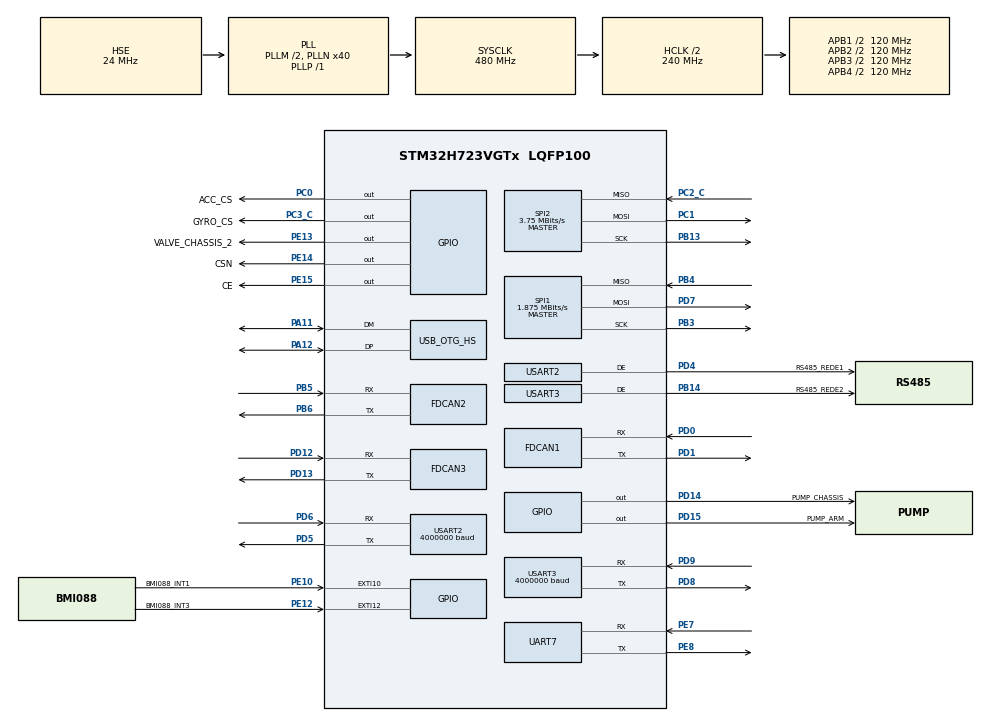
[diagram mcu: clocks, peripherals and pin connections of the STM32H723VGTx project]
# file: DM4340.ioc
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CORTEX_M7.default_mode_Activation=1
Dma.Request0=UART7_TX
Dma.Request1=USART2_TX
Dma.Request2=USART2_RX
Dma.Request3=USART3_RX
Dma.Request4=USART3_TX
Dma.UART7_TX.0.Direction=DMA_MEMORY_TO_PERIPH
Dma.UART7_TX.0.EventEnable=DISABLE
Dma.UART7_TX.0.FIFOMode=DMA_FIFOMODE_DISABLE
Dma.UART7_TX.0.Instance=DMA1_Stream0
Dma.UART7_TX.0.MemDataAlignment=DMA_MDATAALIGN_BYTE
Dma.UART7_TX.0.MemInc=DMA_MINC_ENABLE
Dma.UART7_TX.0.Mode=DMA_NORMAL
Dma.UART7_TX.0.PeriphDataAlignment=DMA_PDATAALIGN_BYTE
Dma.UART7_TX.0.PeriphInc=DMA_PINC_DISABLE
Dma.UART7_TX.0.Polarity=HAL_DMAMUX_REQ_GEN_RISING
Dma.UART7_TX.0.Priority=DMA_PRIORITY_LOW
Dma.UART7_TX.0.RequestNumber=1
Dma.UART7_TX.0.SignalID=NONE
Dma.UART7_TX.0.SyncEnable=DISABLE
Dma.UART7_TX.0.SyncPolarity=HAL_DMAMUX_SYNC_NO_EVENT
Dma.UART7_TX.0.SyncRequestNumber=1
Dma.UART7_TX.0.SyncSignalID=NONE
Dma.USART2_RX.2.Direction=DMA_PERIPH_TO_MEMORY
Dma.USART2_RX.2.EventEnable=DISABLE
Dma.USART2_RX.2.FIFOMode=DMA_FIFOMODE_DISABLE
Dma.USART2_RX.2.Instance=DMA1_Stream2
Dma.USART2_RX.2.MemDataAlignment=DMA_MDATAALIGN_BYTE
Dma.USART2_RX.2.MemInc=DMA_MINC_ENABLE
Dma.USART2_RX.2.Mode=DMA_NORMAL
Dma.USART2_RX.2.PeriphDataAlignment=DMA_PDATAALIGN_BYTE
Dma.USART2_RX.2.PeriphInc=DMA_PINC_DISABLE
Dma.USART2_RX.2.Polarity=HAL_DMAMUX_REQ_GEN_RISING
Dma.USART2_RX.2.Priority=DMA_PRIORITY_MEDIUM
Dma.USART2_RX.2.RequestNumber=1
Dma.USART2_RX.2.SignalID=NONE
Dma.USART2_RX.2.SyncEnable=DISABLE
Dma.USART2_RX.2.SyncPolarity=HAL_DMAMUX_SYNC_NO_EVENT
Dma.USART2_RX.2.SyncRequestNumber=1
Dma.USART2_RX.2.SyncSignalID=NONE
Dma.USART2_TX.1.Direction=DMA_MEMORY_TO_PERIPH
Dma.USART2_TX.1.EventEnable=DISABLE
Dma.USART2_TX.1.FIFOMode=DMA_FIFOMODE_DISABLE
Dma.USART2_TX.1.Instance=DMA1_Stream1
Dma.USART2_TX.1.MemDataAlignment=DMA_MDATAALIGN_BYTE
Dma.USART2_TX.1.MemInc=DMA_MINC_ENABLE
Dma.USART2_TX.1.Mode=DMA_NORMAL
Dma.USART2_TX.1.PeriphDataAlignment=DMA_PDATAALIGN_BYTE
Dma.USART2_TX.1.PeriphInc=DMA_PINC_DISABLE
Dma.USART2_TX.1.Polarity=HAL_DMAMUX_REQ_GEN_RISING
Dma.USART2_TX.1.Priority=DMA_PRIORITY_MEDIUM
Dma.USART2_TX.1.RequestNumber=1
Dma.USART2_TX.1.SignalID=NONE
Dma.USART2_TX.1.SyncEnable=DISABLE
Dma.USART2_TX.1.SyncPolarity=HAL_DMAMUX_SYNC_NO_EVENT
Dma.USART2_TX.1.SyncRequestNumber=1
Dma.USART2_TX.1.SyncSignalID=NONE
Dma.USART3_RX.3.Direction=DMA_PERIPH_TO_MEMORY
Dma.USART3_RX.3.EventEnable=DISABLE
Dma.USART3_RX.3.FIFOMode=DMA_FIFOMODE_DISABLE
Dma.USART3_RX.3.Instance=DMA1_Stream3
Dma.USART3_RX.3.MemDataAlignment=DMA_MDATAALIGN_BYTE
Dma.USART3_RX.3.MemInc=DMA_MINC_ENABLE
Dma.USART3_RX.3.Mode=DMA_NORMAL
Dma.USART3_RX.3.PeriphDataAlignment=DMA_PDATAALIGN_BYTE
Dma.USART3_RX.3.PeriphInc=DMA_PINC_DISABLE
Dma.USART3_RX.3.Polarity=HAL_DMAMUX_REQ_GEN_RISING
Dma.USART3_RX.3.Priority=DMA_PRIORITY_MEDIUM
Dma.USART3_RX.3.RequestNumber=1
Dma.USART3_RX.3.SignalID=NONE
Dma.USART3_RX.3.SyncEnable=DISABLE
Dma.USART3_RX.3.SyncPolarity=HAL_DMAMUX_SYNC_NO_EVENT
Dma.USART3_RX.3.SyncRequestNumber=1
Dma.USART3_RX.3.SyncSignalID=NONE
Dma.USART3_TX.4.Direction=DMA_MEMORY_TO_PERIPH
Dma.USART3_TX.4.EventEnable=DISABLE
Dma.USART3_TX.4.FIFOMode=DMA_FIFOMODE_DISABLE
Dma.USART3_TX.4.Instance=DMA1_Stream4
Dma.USART3_TX.4.MemDataAlignment=DMA_MDATAALIGN_BYTE
Dma.USART3_TX.4.MemInc=DMA_MINC_ENABLE
Dma.USART3_TX.4.Mode=DMA_NORMAL
Dma.USART3_TX.4.PeriphDataAlignment=DMA_PDATAALIGN_BYTE
Dma.USART3_TX.4.PeriphInc=DMA_PINC_DISABLE
Dma.USART3_TX.4.Polarity=HAL_DMAMUX_REQ_GEN_RISING
Dma.USART3_TX.4.Priority=DMA_PRIORITY_MEDIUM
Dma.USART3_TX.4.RequestNumber=1
Dma.USART3_TX.4.SignalID=NONE
Dma.USART3_TX.4.SyncEnable=DISABLE
Dma.USART3_TX.4.SyncPolarity=HAL_DMAMUX_SYNC_NO_EVENT
Dma.USART3_TX.4.SyncRequestNumber=1
Dma.USART3_TX.4.SyncSignalID=NONE
FDCAN1.CalculateBaudRateNominal=1000000
FDCAN1.CalculateTimeBitNominal=1000
FDCAN1.CalculateTimeQuantumNominal=25.0
FDCAN1.DataPrescaler=3
FDCAN1.DataSyncJumpWidth=10
FDCAN1.DataTimeSeg1=29
FDCAN1.DataTimeSeg2=10
FDCAN1.NominalPrescaler=3
FDCAN1.NominalSyncJumpWidth=10
FDCAN1.NominalTimeSeg1=29
FDCAN1.NominalTimeSeg2=10
FDCAN1.ProtocolException=ENABLE
FDCAN1.RxFifo0ElmtsNbr=2
FDCAN1.StdFiltersNbr=1
FDCAN1.TxFifoQueueElmtsNbr=2
FDCAN2.CalculateBaudRateNominal=1000000
FDCAN2.CalculateTimeBitNominal=1000
FDCAN2.CalculateTimeQuantumNominal=25.0
FDCAN2.DataPrescaler=3
FDCAN2.DataSyncJumpWidth=10
FDCAN2.DataTimeSeg1=29
FDCAN2.DataTimeSeg2=10
FDCAN2.MessageRAMOffset=0
FDCAN2.NominalPrescaler=3
FDCAN2.NominalSyncJumpWidth=10
FDCAN2.NominalTimeSeg1=29
FDCAN2.NominalTimeSeg2=10
FDCAN2.ProtocolException=ENABLE
FDCAN2.RxFifo0ElmtsNbr=2
FDCAN2.StdFiltersNbr=1
FDCAN2.TxFifoQueueElmtsNbr=2
FDCAN3.CalculateBaudRateNominal=1000000
FDCAN3.CalculateTimeBitNominal=1000
FDCAN3.CalculateTimeQuantumNominal=25.0
FDCAN3.DataPrescaler=3
FDCAN3.DataSyncJumpWidth=10
FDCAN3.DataTimeSeg1=29
FDCAN3.DataTimeSeg2=10
FDCAN3.MessageRAMOffset=1
FDCAN3.NominalPrescaler=3
FDCAN3.NominalSyncJumpWidth=10
FDCAN3.NominalTimeSeg1=29
FDCAN3.NominalTimeSeg2=10
FDCAN3.ProtocolException=ENABLE
FDCAN3.RxFifo0ElmtsNbr=2
FDCAN3.StdFiltersNbr=0
FDCAN3.TxFifoQueueElmtsNbr=2
Mcu.Family=STM32H7
Mcu.Name=STM32H723VGTx
Mcu.Package=LQFP100
NVIC.DMA1_Stream0_IRQn=true\:0\:0\:false\:false\:true\:false\:true\:true
NVIC.DMA1_Stream1_IRQn=true\:0\:0\:false\:false\:true\:false\:true\:true
NVIC.DMA1_Stream2_IRQn=true\:0\:0\:false\:false\:true\:false\:true\:true
NVIC.DMA1_Stream3_IRQn=true\:0\:0\:false\:false\:true\:false\:true\:true
NVIC.DMA1_Stream4_IRQn=true\:0\:0\:false\:false\:true\:false\:true\:true
NVIC.EXTI15_10_IRQn=true\:0\:0\:false\:false\:true\:true\:true\:true
NVIC.FDCAN1_IT0_IRQn=true\:1\:0\:true\:false\:true\:true\:true\:true
NVIC.FDCAN1_IT1_IRQn=true\:0\:0\:false\:false\:true\:true\:true\:true
NVIC.FDCAN2_IT0_IRQn=true\:1\:0\:true\:false\:true\:true\:true\:true
NVIC.FDCAN2_IT1_IRQn=true\:0\:0\:false\:false\:true\:true\:true\:true
NVIC.FDCAN3_IT0_IRQn=true\:1\:0\:true\:false\:true\:true\:true\:true
NVIC.FDCAN3_IT1_IRQn=true\:1\:0\:true\:false\:true\:true\:true\:true
NVIC.FDCAN_CAL_IRQn=true\:0\:0\:false\:false\:true\:true\:true\:true
NVIC.OTG_HS_IRQn=true\:2\:0\:true\:false\:true\:true\:true\:true
NVIC.PriorityGroup=NVIC_PRIORITYGROUP_4
NVIC.TIM3_IRQn=true\:3\:0\:true\:false\:true\:true\:true\:true
NVIC.TIM4_IRQn=true\:3\:0\:true\:false\:true\:true\:true\:true
NVIC.UART7_IRQn=true\:0\:0\:false\:false\:true\:true\:true\:true
NVIC.USART2_IRQn=true\:3\:0\:true\:false\:true\:true\:true\:true
NVIC.USART3_IRQn=true\:3\:0\:true\:false\:true\:true\:true\:true
PA11.Mode=Device_Only_FS
PA11.Signal=USB_OTG_HS_DM
PA12.Mode=Device_Only_FS
PA12.Signal=USB_OTG_HS_DP
PB13.Mode=Full_Duplex_Master
PB13.Signal=SPI2_SCK
PB14.GPIO_Label=RS485_REDE2
PB14.Mode=Hardware Flow Control (RS485)
PB14.Signal=USART3_DE
PB3(JTDO/TRACESWO).Mode=Full_Duplex_Master
PB3(JTDO/TRACESWO).Signal=SPI1_SCK
PB4(NJTRST).Mode=Full_Duplex_Master
PB4(NJTRST).Signal=SPI1_MISO
PB5.Mode=FDCAN_Activate
PB5.Signal=FDCAN2_RX
PB6.Mode=FDCAN_Activate
PB6.Signal=FDCAN2_TX
PC0.GPIO_Label=ACC_CS
PC0.PinState=GPIO_PIN_SET
PC0.Signal=GPIO_Output
PC1.Mode=Full_Duplex_Master
PC1.Signal=SPI2_MOSI
PC12.GPIO_Speed=GPIO_SPEED_FREQ_MEDIUM
PC12.Signal=SPI3_MOSI
PC2_C.Mode=Full_Duplex_Master
PC2_C.Signal=SPI2_MISO
PC3_C.GPIO_Label=GYRO_CS
PC3_C.PinState=GPIO_PIN_SET
PC3_C.Signal=GPIO_Output
PD0.Mode=FDCAN_Activate
PD0.Signal=FDCAN1_RX
PD1.Mode=FDCAN_Activate
PD1.Signal=FDCAN1_TX
PD12.Mode=FDCAN_Activate
PD12.Signal=FDCAN3_RX
PD13.Mode=FDCAN_Activate
PD13.Signal=FDCAN3_TX
PD14.GPIO_Label=PUMP_CHASSIS
PD14.Signal=GPIO_Output
PD15.GPIO_Label=PUMP_ARM
PD15.Signal=GPIO_Output
PD4.GPIO_Label=RS485_REDE1
PD4.Mode=Hardware Flow Control (RS485)
PD4.Signal=USART2_DE
PD5.Mode=Asynchronous
PD5.Signal=USART2_TX
PD6.Mode=Asynchronous
PD6.Signal=USART2_RX
PD7.Mode=Full_Duplex_Master
PD7.Signal=SPI1_MOSI
PD8.Mode=Asynchronous
PD8.Signal=USART3_TX
PD9.Mode=Asynchronous
PD9.Signal=USART3_RX
PE10.GPIO_Label=BMI088_INT1
PE10.GPIO_PuPd=GPIO_PULLDOWN
PE10.Signal=GPXTI10
PE12.GPIO_Label=BMI088_INT3
PE12.GPIO_PuPd=GPIO_PULLDOWN
PE12.Signal=GPXTI12
PE13.GPIO_Label=VALVE_CHASSIS_2
PE13.Signal=GPIO_Output
PE14.GPIO_Label=CSN
PE14.GPIO_PuPd=GPIO_PULLUP
PE14.GPIO_Speed=GPIO_SPEED_FREQ_HIGH
PE14.PinState=GPIO_PIN_SET
PE14.Signal=GPIO_Output
PE15.GPIO_Label=CE
PE15.GPIO_ModeDefaultOutputPP=GPIO_MODE_OUTPUT_PP
PE15.GPIO_PuPd=GPIO_PULLDOWN
PE15.GPIO_Speed=GPIO_SPEED_FREQ_MEDIUM
PE15.PinState=GPIO_PIN_RESET
PE15.Signal=GPIO_Output
PE7.Mode=Asynchronous
PE7.Signal=UART7_RX
PE8.Mode=Asynchronous
PE8.Signal=UART7_TX
PH0-OSC_IN.Mode=HSE-External-Oscillator
PH0-OSC_IN.Signal=RCC_OSC_IN
PH1-OSC_OUT.Mode=HSE-External-Oscillator
PH1-OSC_OUT.Signal=RCC_OSC_OUT
ProjectManager.HeapSize=0x1000
ProjectManager.StackSize=0x1000
ProjectManager.TargetToolchain=STM32CubeIDE
RCC.ADCFreq_Value=48375000
RCC.APB1Freq_Value=120000000
RCC.APB2Freq_Value=120000000
RCC.APB3Freq_Value=120000000
RCC.APB4Freq_Value=120000000
RCC.CortexFreq_Value=480000000
RCC.D1PPRE=RCC_APB3_DIV2
RCC.D2PPRE1=RCC_APB1_DIV2
RCC.D2PPRE2=RCC_APB2_DIV2
RCC.D3PPRE=RCC_APB4_DIV2
RCC.DIVM1=2
RCC.DIVN1=40
RCC.DIVP1=1
RCC.DIVQ1=4
RCC.HCLKFreq_Value=240000000
RCC.HPRE=RCC_HCLK_DIV2
RCC.HSE_VALUE=24000000
RCC.PLLFRACN=0
RCC.PLLSourceVirtual=RCC_PLLSOURCE_HSE
RCC.SYSCLKFreq_VALUE=480000000
RCC.SYSCLKSource=RCC_SYSCLKSOURCE_PLLCLK
RCC.USBCLockSelection=RCC_USBCLKSOURCE_HSI48
RCC.USBFreq_Value=48000000
SPI1.BaudRatePrescaler=SPI_BAUDRATEPRESCALER_64
SPI1.CalculateBaudRate=1.875 MBits/s
SPI1.DataSize=SPI_DATASIZE_8BIT
SPI1.Direction=SPI_DIRECTION_2LINES
SPI1.Mode=SPI_MODE_MASTER
SPI1.VirtualType=VM_MASTER
SPI2.BaudRatePrescaler=SPI_BAUDRATEPRESCALER_32
SPI2.CLKPhase=SPI_PHASE_2EDGE
SPI2.CLKPolarity=SPI_POLARITY_HIGH
SPI2.CalculateBaudRate=3.75 MBits/s
SPI2.DataSize=SPI_DATASIZE_8BIT
SPI2.Direction=SPI_DIRECTION_2LINES
SPI2.Mode=SPI_MODE_MASTER
SPI2.VirtualType=VM_MASTER
TIM3.Period=1000-1
TIM3.Prescaler=80-1
TIM4.Period=1000-1
TIM4.Prescaler=120-1
USART2.BaudRate=4000000
USART2.VirtualMode-Asynchronous=VM_ASYNC
USART2.VirtualMode-Hardware\ Flow\ Control\ (RS485)=VM_ASYNC
USART3.BaudRate=4000000
USART3.VirtualMode-Asynchronous=VM_ASYNC
USART3.VirtualMode-Hardware\ Flow\ Control\ (RS485)=VM_ASYNC
USB_DEVICE.CLASS_NAME_HS=CDC
USB_DEVICE.VirtualMode=Cdc
USB_DEVICE.VirtualModeHS=Cdc_HS
USB_OTG_HS.VirtualMode-Device_Only_FS=Device_Only_FS
VP_MEMORYMAP_VS_MEMORYMAP.Mode=CurAppReg
VP_TIM3_VS_ClockSourceINT.Mode=Internal
VP_TIM4_VS_ClockSourceINT.Mode=Internal
VP_USB_DEVICE_VS_USB_DEVICE_CDC_HS.Mode=CDC_HS
board=custom

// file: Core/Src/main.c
/* USER CODE BEGIN Header */
/**
  ******************************************************************************
  * @file           : main.c
  * @brief          : Main program body
  ******************************************************************************
  * @attention
  *
  * Copyright (c) 2026 STMicroelectronics.
  * All rights reserved.
  *
  * This software is licensed under terms that can be found in the LICENSE file
  * in the root directory of this software component.
  * If no LICENSE file comes with this software, it is provided AS-IS.
  *
  ******************************************************************************
  */
/* USER CODE END Header */
#include "main.h"
#include "dma.h"
#include "fdcan.h"
#include "spi.h"
#include "tim.h"
#include "usart.h"
#include "usb_device.h"
#include "gpio.h"

/* USER CODE BEGIN Includes */
#include "gom_protocol.h"
#include <string.h>
#include "motor_controller.h"
#include "rs485.h"
#include <stdio.h>
#include "dm_driver.h"
#include "3508_driver.h"
#include <math.h>
#include <string.h>
#include "leg_kinematics.h"
#include "arm.h"
#include "arm_g.h"
#include "arm_task.h"
#include "Attitude_solution.h"
#include "../../Application/gait.h"
#include "AS01.h"
#include "control.h"
#include "protocol_handler.h"
/* USER CODE END Includes */

/* USER CODE BEGIN PTD */
struct {
    float x;
    float y;
    float z;
} arm_target = {0.10f, 0.0f, -0.35f};
/* USER CODE END PTD */

/* USER CODE BEGIN PV */
Currentpos currentpos;
LegAngles angles;
QuadrupedGait gait;

Arm_Lengths_t arm_params = {0.00f, 0.30f, 0.32f,0.084f};
Joint_Angles_t current_angles = {0};//全员初始化为 0
End_Pos_t end_effector_pos = {0};
uint32_t last_tick = 0;

extern ArmGravityParams_t arm_g_params;
extern Motor_3508_T Motors[4];
extern DM_Motor_t Arm_Motors[4];

MotorController ctrl1;
__attribute__((section(".RAM_D1"))) MotorController ctrl2;
RemoteData_t myPacket;
uint8_t rx_buffer[32];
uint8_t rx_data[32];

//BMI088
float system_run_time = 0.0f;

float gyro[3] = {0};
float accel[3] = {0};
float temp = 0.0f;

uint32_t attitude_last_time = 0;
float debug_pitch = 0, debug_roll = 0, debug_yaw = 0;
int is_calibrated=1;
static volatile uint8_t uart2_recover_pending = 0;
static volatile uint8_t uart3_recover_pending = 0;
/* USER CODE END PV */

void SystemClock_Config(void);
static void MPU_Config(void);
/* USER CODE BEGIN PFP */
static void Recover_Unitree_Uart_IfNeeded(void);
void DM_Init(void);
void run_arm_kinematics(void);
void Task_Arm_Control(void);
void Task_Arm_Control_Line(void);
void Task_Arm_Control_Line_x(void);
extern void run_arm_drag_teach_mode(void);
extern uint8_t BMI088_init(void);

/* USER CODE END PFP */

/* USER CODE BEGIN 0 */

extern UART_HandleTypeDef huart7; //用于机械臂调参的串口

void HAL_TIM_PeriodElapsedCallback(TIM_HandleTypeDef *htim) {
	/* USER CODE BEGIN Callback 0 */
	if (htim->Instance == TIM4) {
		static uint8_t step = 0;
		switch (step) {
		case 0:
			MotorController_SendCommand2(&ctrl2, 1);
			step = 1;
			break;
		case 1:
			MotorController_SendCommand2(&ctrl2, 2);
			step = 2;
			break;
		case 2:
			MotorController_SendCommand2(&ctrl2, 7);
			step = 3;
			break;
		case 3:
			MotorController_SendCommand2(&ctrl2, 8);
			step = 0;
			break;
		}
	}
	if (htim->Instance == TIM3) {
		static uint8_t time = 0;
		switch (time) {
		case 0:
			MotorController_SendCommand1(&ctrl1, 3);
			time = 1;
			break;
		case 1:
			MotorController_SendCommand1(&ctrl1, 4);
			time = 2;
			break;
		case 2:
			MotorController_SendCommand1(&ctrl1, 6);
			time = 3;
			break;
		case 3:
			MotorController_SendCommand1(&ctrl1, 5);
			time = 0;
			break;
		}
	}

}

/**
 * @brief   接收回调函数
 * @param   hfdcan      FDCAN句柄指针
 * @param   RxFifo0ITs  FIFO0中断标志
 * @retval  none
 */
void HAL_FDCAN_RxFifo0Callback(FDCAN_HandleTypeDef *hfdcan, uint32_t RxFifo0ITs)
{
    FDCAN_RxHeaderTypeDef RxHeader;
    uint8_t RxData[8];

    if ((RxFifo0ITs & FDCAN_IT_RX_FIFO0_NEW_MESSAGE) != 0) {
        // 必须使用 while 循环将 FIFO 彻底读空，防止多电机并发导致丢帧
        while (HAL_FDCAN_GetRxFifoFillLevel(hfdcan, FDCAN_RX_FIFO0) > 0) {
            if (HAL_FDCAN_GetRxMessage(hfdcan, FDCAN_RX_FIFO0, &RxHeader, RxData) == HAL_OK) {

                // FDCAN1：接收 3508 的电机 1、2
                if (hfdcan->Instance == FDCAN1) {
                    D3508_Decode(RxData, (uint16_t)RxHeader.Identifier);
                    g_robot_diag.fdcan1_rx_count++;
                }
                // FDCAN2：接收 3508 的电机 3、4
                else if (hfdcan->Instance == FDCAN2) {
                    D3508_Decode(RxData, (uint16_t)RxHeader.Identifier);
                    g_robot_diag.fdcan2_rx_count++;
                }
                // FDCAN3：接收达妙电机
                else if (hfdcan->Instance == FDCAN3) {
                    DM_RX_Decode(RxData, (uint16_t)RxHeader.Identifier);
                    g_robot_diag.fdcan3_rx_count++;
                }
            } else {
                if (hfdcan->Instance == FDCAN1) {
                    g_robot_diag.fdcan1_err_count++;
                    g_robot_diag.fdcan1_last_error = hfdcan->ErrorCode;
                } else if (hfdcan->Instance == FDCAN2) {
                    g_robot_diag.fdcan2_err_count++;
                    g_robot_diag.fdcan2_last_error = hfdcan->ErrorCode;
                } else if (hfdcan->Instance == FDCAN3) {
                    g_robot_diag.fdcan3_err_count++;
                    g_robot_diag.fdcan3_last_error = hfdcan->ErrorCode;
                }
            }
        }
    }
}

/**
 * @brief 机械臂控制任务：处理逆解与电机控制指令
 */
void Task_Arm_Control(void) {

    run_arm_to_pos(arm_target.x, arm_target.y, arm_target.z);
}

/**
 * @brief  系统状态更新任务（整合了姿态更新和运行时间计算）
 */
void Task_System_State_Update(void) {
    /* ========== 1. 姿态解算更新 (100Hz) ========== */
    uint32_t current_time = HAL_GetTick();
    float dt = (current_time - attitude_last_time) / 1000.0f;
    attitude_last_time = current_time;

    /* 限制 dt 范围 */
    if (dt > 0.1f) dt = 0.01f;
    if (dt < 0.001f) dt = 0.01f;

    /* 更新姿态 */
    Attitude_Update(dt);

    /* 获取解算角度 (用于调试或控制) */
    debug_pitch = g_Attitude.Angle_Pitch;
    debug_roll  = g_Attitude.Angle_Roll;
    debug_yaw   = g_Attitude.Angle_Yaw;

    /* ========== 2. 原有 BMI088 数据读取 (兼容旧代码) ========== */
    gyro[0] = g_Attitude.Gyro_X;
    gyro[1] = g_Attitude.Gyro_Y;
    gyro[2] = g_Attitude.Gyro_Z;
    accel[0] = g_Attitude.Accel_X;
    accel[1] = g_Attitude.Accel_Y;
    accel[2] = g_Attitude.Accel_Z;
    temp = g_Attitude.Temperature;

    /* ========== 3. 系统运行时间更新 ========== */
    uint32_t now = HAL_GetTick();
    if(now - last_tick >= 5) {
        float dt_sys = (now - last_tick) / 1000.0f;
        last_tick = now;
        system_run_time += dt_sys;

    }
}

/* USER CODE END 0 */

int main(void)
{

  /* MPU Configuration--------------------------------------------------------*/
  MPU_Config();

  /* MCU Configuration--------------------------------------------------------*/

  /* Reset of all peripherals, Initializes the Flash interface and the Systick. */
  HAL_Init();

  /* Configure the system clock */
  SystemClock_Config();

  /* Initialize all configured peripherals */
  MX_GPIO_Init();
  MX_DMA_Init();
  MX_FDCAN1_Init();
  MX_TIM3_Init();
  MX_FDCAN2_Init();
  MX_FDCAN3_Init();
  MX_UART7_Init();
  MX_SPI2_Init();
  MX_USART2_UART_Init();
  MX_USART3_UART_Init();
  MX_USB_DEVICE_Init();
  MX_TIM4_Init();
  MX_SPI1_Init();
  /* USER CODE BEGIN 2 */
  FDCAN2_Filter_Init();
  FDCAN1_Filter_Init();
  FDCAN3_Filter_Init();
  HAL_Delay(1000);
  D3508_Init();
  DM_Init();

  Arm_Gravity_InitParams(&arm_g_params);
  Attitude_Init();

   MotorController_Init(&ctrl1, &huart2, RS485_REDE1_GPIO_Port, RS485_REDE1_Pin);
   MotorController_Init(&ctrl2, &huart3, RS485_REDE2_GPIO_Port, RS485_REDE2_Pin);
   Protocol_Init();
   Control_Init(&gait);
   uint32_t startTime=HAL_GetTick()/1000;
 //          for (uint8_t i = 0; i < 4; i++) {
 //              calibrate_leg_base_position(&gait, i, &ctrl2);
 //          }
 //          start_quadruped_gait(&gait,startTime);

   uint32_t loop_tick_5ms = HAL_GetTick();
   HAL_Delay(500);
   NRF24L01_Check_SPI();
   NRF24L01_Init();
   HAL_Delay(20);
  /* 【新增】姿态解算模块初始化 */

    /* 【新增】零偏校准 (保持传感器静止 2 秒) */
   if (g_Attitude.Init_OK) {
        Attitude_Calibrate_ZeroBias();
    }

  // 向达妙电机发送设置 0 位指令。
//  for(uint16_t id = 0x01; id <= 0x04; id++) {
//    DM_Set_Zero_Pos(id);
//    HAL_Delay(10); // 必须加延时，等待指令发送完成及电机内部保存
//  }
//
//  for(uint16_t id = 0x01; id <= 0x04; id++) {
//    DM_Motor_Enable(id);
//    HAL_Delay(10); // 顺次启动，防止冲击电流
//  }

  HAL_TIM_Base_Start_IT(&htim3);
  HAL_TIM_Base_Start_IT(&htim4);
  loop_tick_5ms = HAL_GetTick();
  attitude_last_time = HAL_GetTick();
  /* Do not block after TIM3/TIM4 start: motor command interrupts are already running. */
  /* USER CODE END 2 */

  /* Infinite loop */
  /* USER CODE BEGIN WHILE */

  while (1)
  {
	  uint32_t now = HAL_GetTick();
	  Recover_Unitree_Uart_IfNeeded();

        if(now - loop_tick_5ms >= 5)
        {
            loop_tick_5ms=now;
//	            uint32_t loop_dt_ms = now - loop_tick_5ms;
//	            float dt = (now - loop_tick_5ms) / 1000.0f;
//	            loop_tick_5ms += 5; // 【关键修改】：+=5 保证定时器稳定在 200Hz 不随系统耗时而漂移
//	            system_run_time += dt;
//	            g_robot_diag.loop_5ms_count++;
//	            if (loop_dt_ms > g_robot_diag.max_loop_dt_ms) {
//	                g_robot_diag.max_loop_dt_ms = loop_dt_ms;
//	            }
//	            if (loop_dt_ms > 6U) {
//	                g_robot_diag.loop_overrun_count++;
//	            }
//	            //计算 PID
//        	   for(int i = 0; i < 4; i++) {
//			   float motor_angle=200.0f;
//	           int64_t target_angle = (int64_t)(motor_angle * D3508_REDUCTION_RATIO * D3508_ENCODER_RES / 360.0f);
//	           MIT_Wheel_Control(i, target_angle, 0.0f, 2.0f, 0.15f, 0.0f, 3.0f);
//			   }
//        	   send_current();
//
//
//	            	            // 4. 大疆 3508 控制
//
//	            	  	        float motor_angle=200.0f;
//
//
//	            	  	        Motors[1].target_angle = (int64_t)(motor_angle * 19.0f * 8192.0f / 360.0f);
//	            	  	      	PID_Calc_Position(1, Motors[1].target_angle);
//        	   send_current();
//               Task_System_State_Update();  //姿态角

               // 【关键修改】：去除了原先的 HAL_Delay(1); 防止在 5ms 循环中浪费近 2ms 的等待时间

//
//	  	             //  1. 达妙控制
//	  	        	  //         （ID， Pos，Vel，   Kp，   Kd，Torq:  0.0f (前馈扭矩0)）
//	  	    	//全部设为 0：位置0, 速度0, Kp=0(无刚度), Kd=0(无阻尼), T=0(无前馈力矩)
//	  	    	DM_Send_Ctrl(0x01, 0.0f, 0.0f, 50.0f, 0.5f, 0.0f);
//	  	    	DM_Send_Ctrl(0x02, 0.0f, 0.0f, 50.0f, 0.5f, 0.0f);
//	  	    	DM_Send_Ctrl(0x03, 0.0f, 0.0f, 50.0f, 0.5f, 0.0f);
//	  	    	DM_Send_Ctrl(0x04, 0.0f, 0.0f, 50.0f, 0.5f, 0.0f);
//
//	  	    	// 1. 调用正解函数
//	  	    	run_arm_kinematics();

//	            // 2.1 视觉任务状态机 (内部会按需调用 run_arm_to_pos)
//	            Task_Vision_State_Machine();
	            AS01_rx(&ctrl1, &ctrl2, &gait, startTime, angles, now);
//	            // 2.2 遥控器控制
//	  	    	arm_knob_direct_control();
//
//	            // 【模式一：零力拖拽 / 重力悬浮模式】 -> 开启此项进行测试
//	            run_arm_drag_teach_mode();

//	  	    	Para_adjust(); // 串口调参函数
//	  	    	Task_Arm_Control();
//	  	    	Task_Arm_Control_Line();
//	  	    	Task_Arm_Control_Line_x();
//	  	        	 //达妙电机组
//	  	        for(uint16_t id = 0x01; id <= 0x04; id++) {
//	  	        	        // 示例：将所有电机控制在 0 弧度位置
//	  	        	        // 参数含义: ID, 位置, 速度, Kp, Kd, 扭矩
//	  	        	      DM_Send_Ctrl(id, 0.0f, 0.0f, 50.0f, 0.5f, 0.0f);
//	  	        	 }

	        }

    /* USER CODE END WHILE */

  }
}

void SystemClock_Config(void)
{
  RCC_OscInitTypeDef RCC_OscInitStruct = {0};
  RCC_ClkInitTypeDef RCC_ClkInitStruct = {0};

  /** Supply configuration update enable
  */
  HAL_PWREx_ConfigSupply(PWR_LDO_SUPPLY);

  /** Configure the main internal regulator output voltage
  */
  __HAL_PWR_VOLTAGESCALING_CONFIG(PWR_REGULATOR_VOLTAGE_SCALE0);

  while(!__HAL_PWR_GET_FLAG(PWR_FLAG_VOSRDY)) {}

  /** Initializes the RCC Oscillators according to the specified parameters
  * in the RCC_OscInitTypeDef structure.
  */
  RCC_OscInitStruct.OscillatorType = RCC_OSCILLATORTYPE_HSI48|RCC_OSCILLATORTYPE_HSE;
  RCC_OscInitStruct.HSEState = RCC_HSE_ON;
  RCC_OscInitStruct.HSI48State = RCC_HSI48_ON;
  RCC_OscInitStruct.PLL.PLLState = RCC_PLL_ON;
  RCC_OscInitStruct.PLL.PLLSource = RCC_PLLSOURCE_HSE;
  RCC_OscInitStruct.PLL.PLLM = 2;
  RCC_OscInitStruct.PLL.PLLN = 40;
  RCC_OscInitStruct.PLL.PLLP = 1;
  RCC_OscInitStruct.PLL.PLLQ = 4;
  RCC_OscInitStruct.PLL.PLLR = 2;
  RCC_OscInitStruct.PLL.PLLRGE = RCC_PLL1VCIRANGE_3;
  RCC_OscInitStruct.PLL.PLLVCOSEL = RCC_PLL1VCOWIDE;
  RCC_OscInitStruct.PLL.PLLFRACN = 0;
  if (HAL_RCC_OscConfig(&RCC_OscInitStruct) != HAL_OK)
  {
    Error_Handler();
  }

  /** Initializes the CPU, AHB and APB buses clocks
  */
  RCC_ClkInitStruct.ClockType = RCC_CLOCKTYPE_HCLK|RCC_CLOCKTYPE_SYSCLK
                              |RCC_CLOCKTYPE_PCLK1|RCC_CLOCKTYPE_PCLK2
                              |RCC_CLOCKTYPE_D3PCLK1|RCC_CLOCKTYPE_D1PCLK1;
  RCC_ClkInitStruct.SYSCLKSource = RCC_SYSCLKSOURCE_PLLCLK;
  RCC_ClkInitStruct.SYSCLKDivider = RCC_SYSCLK_DIV1;
  RCC_ClkInitStruct.AHBCLKDivider = RCC_HCLK_DIV2;
  RCC_ClkInitStruct.APB3CLKDivider = RCC_APB3_DIV2;
  RCC_ClkInitStruct.APB1CLKDivider = RCC_APB1_DIV2;
  RCC_ClkInitStruct.APB2CLKDivider = RCC_APB2_DIV2;
  RCC_ClkInitStruct.APB4CLKDivider = RCC_APB4_DIV2;

  if (HAL_RCC_ClockConfig(&RCC_ClkInitStruct, FLASH_LATENCY_3) != HAL_OK)
  {
    Error_Handler();
  }
}

/* USER CODE BEGIN 4 */

static void Recover_Unitree_Uart_IfNeeded(void)
{
    if (uart2_recover_pending) {
        uart2_recover_pending = 0;
        HAL_UART_Abort(&huart2);
        huart2.ErrorCode = HAL_UART_ERROR_NONE;
        ctrl1.dma_busy = 0;
    }

    if (uart3_recover_pending) {
        uart3_recover_pending = 0;
        HAL_UART_Abort(&huart3);
        huart3.ErrorCode = HAL_UART_ERROR_NONE;
        ctrl2.dma_busy = 0;
    }
}

void HAL_UART_TxCpltCallback(UART_HandleTypeDef *huart) {
    if(huart == &huart2) {
//        RS485_RxMode1();
        HAL_UART_Receive_DMA(ctrl1.uart,
                            (uint8_t*)&ctrl1.datas[ctrl1.last_sent_motor_id].motor_recv_data,
                             sizeof(ctrl1.datas[ctrl1.last_sent_motor_id].motor_recv_data));

    }
    if(huart == &huart3) {
//        RS485_RxMode2();
        HAL_UART_Receive_DMA(ctrl2.uart,
                            (uint8_t*)&ctrl2.datas[ctrl2.last_sent_motor_id].motor_recv_data,
                             sizeof(ctrl2.datas[ctrl2.last_sent_motor_id].motor_recv_data));

    }
}
void HAL_UART_RxCpltCallback(UART_HandleTypeDef *huart) {
    if (huart == &huart2) {
    	extract_data(&ctrl1.datas[ctrl1.last_sent_motor_id]); // 处理数据
        g_robot_diag.usart2_rx_count++;
    	ctrl1.dma_busy = 0;
    }
    if (huart == &huart3) {
    	extract_data(&ctrl2.datas[ctrl2.last_sent_motor_id]); // 处理数据
        g_robot_diag.usart3_rx_count++;
    	ctrl2.dma_busy = 0;
    }
}
void HAL_UART_ErrorCallback(UART_HandleTypeDef *huart)
{
    if (huart== &huart3)
    {
        extern MotorController ctrl2; // 换成你实际的变量名
        g_robot_diag.usart3_err_count++;
        g_robot_diag.usart3_last_error = huart3.ErrorCode;
        uart3_recover_pending = 1;
        /* UART recovery is handled in the main loop. */
        ctrl2.dma_busy = 0;           // 强制解除锁定
//        RS485_RxMode2();                   // 恢复接收模式
    }
    if (huart== &huart2)
    {
        extern MotorController ctrl1; // 换成你实际的变量名
        g_robot_diag.usart2_err_count++;
        g_robot_diag.usart2_last_error = huart2.ErrorCode;
        uart2_recover_pending = 1;
        /* UART recovery is handled in the main loop. */
        ctrl1.dma_busy = 0;           // 强制解除锁定
//        RS485_RxMode1();                   // 恢复接收模式
    }
}
/* USER CODE END 4 */

 /* MPU Configuration */

void MPU_Config(void)
{
  MPU_Region_InitTypeDef MPU_InitStruct = {0};

  /* Disables the MPU */
  HAL_MPU_Disable();

  /** Initializes and configures the Region and the memory to be protected
  */
  MPU_InitStruct.Enable = MPU_REGION_ENABLE;
  MPU_InitStruct.Number = MPU_REGION_NUMBER0;
  MPU_InitStruct.BaseAddress = 0x0;
  MPU_InitStruct.Size = MPU_REGION_SIZE_4GB;
  MPU_InitStruct.SubRegionDisable = 0x87;
  MPU_InitStruct.TypeExtField = MPU_TEX_LEVEL0;
  MPU_InitStruct.AccessPermission = MPU_REGION_NO_ACCESS;
  MPU_InitStruct.DisableExec = MPU_INSTRUCTION_ACCESS_DISABLE;
  MPU_InitStruct.IsShareable = MPU_ACCESS_SHAREABLE;
  MPU_InitStruct.IsCacheable = MPU_ACCESS_NOT_CACHEABLE;
  MPU_InitStruct.IsBufferable = MPU_ACCESS_NOT_BUFFERABLE;

  HAL_MPU_ConfigRegion(&MPU_InitStruct);
  /* Enables the MPU */
  HAL_MPU_Enable(MPU_PRIVILEGED_DEFAULT);

}

void Error_Handler(void)
{
  __disable_irq();
  while (1)
  {
  }
}
